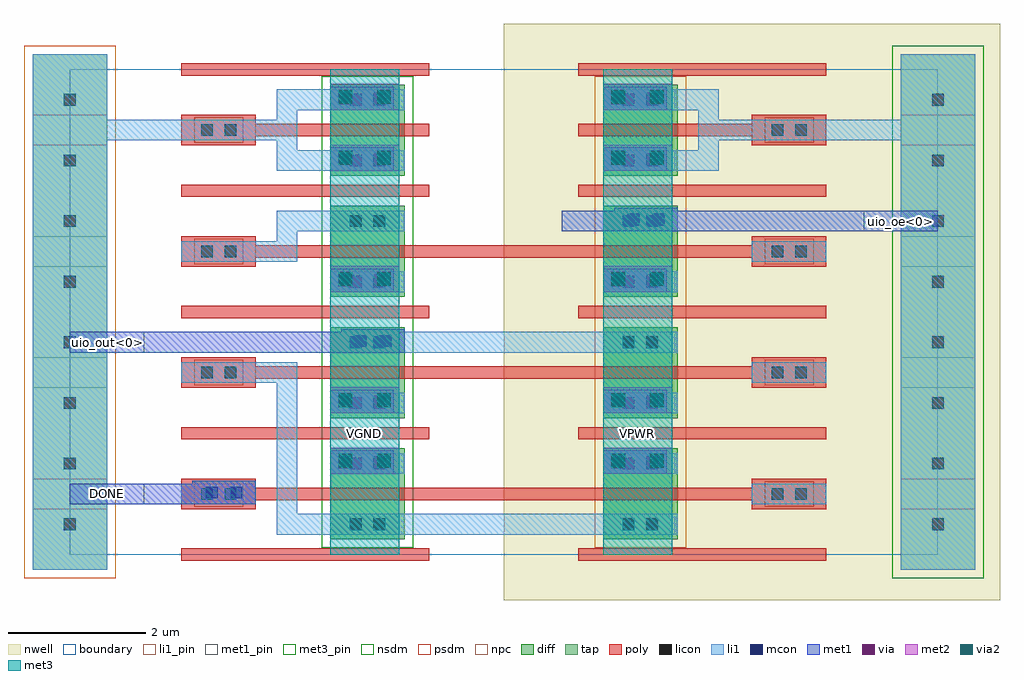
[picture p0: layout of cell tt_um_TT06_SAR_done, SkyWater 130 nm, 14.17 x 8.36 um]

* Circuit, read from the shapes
.subckt tt_um_TT06_SAR_done DONE VGND VPWR uio_oe<0> uio_out<0>
XM1 VGND DONE SUNTR_BFX1_CV_5/SUNTR_NCHDL_6/G VGND sky130_fd_pr__nfet_01v8 w=1.08 l=0.18
XM2 uio_out<0> SUNTR_BFX1_CV_5/SUNTR_NCHDL_6/G VGND VGND sky130_fd_pr__nfet_01v8 w=1.08 l=0.18
XM3 SUNTR_TIEH_CV_4/SUNTR_NCHDL_3/D SUNTR_TIEH_CV_4/SUNTR_NCHDL_3/D VGND VGND sky130_fd_pr__nfet_01v8 w=1.08 l=0.18
XM4 VGND VGND VGND VGND sky130_fd_pr__nfet_01v8 w=1.08 l=0.18
XM5 VPWR DONE SUNTR_BFX1_CV_5/SUNTR_NCHDL_6/G VPWR sky130_fd_pr__pfet_01v8 w=1.08 l=0.18
XM6 uio_out<0> SUNTR_BFX1_CV_5/SUNTR_NCHDL_6/G VPWR VPWR sky130_fd_pr__pfet_01v8 w=1.08 l=0.18
XM7 uio_oe<0> SUNTR_TIEH_CV_4/SUNTR_NCHDL_3/D VPWR VPWR sky130_fd_pr__pfet_01v8 w=1.08 l=0.18
XM8 VPWR VPWR VPWR VPWR sky130_fd_pr__pfet_01v8 w=1.08 l=0.18
.ends

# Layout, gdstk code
import gdstk
lib = gdstk.Library(unit=1e-6, precision=1e-09)
def R(c, l, rs):  # rectangles x0, y0, x1, y1
    for r in rs: c.add(gdstk.rectangle(r[:2], r[2:], *l))
def A(c, l, x, y, w, h, nx, ny, dx, dy):  # array of equal rectangles
    R(c, l, [(x+i*dx, y+j*dy, x+i*dx+w, y+j*dy+h) for i in range(nx) for j in range(ny)])
nwell = (64, 20)
diff = (65, 20)
tap = (65, 44)
poly = (66, 20)
licon = (66, 44)
li1_pin = (67, 16)
li1 = (67, 20)
mcon = (67, 44)
met1_pin = (68, 16)
met1 = (68, 20)
via = (68, 44)
met2 = (69, 20)
via2 = (69, 44)
met3_pin = (70, 16)
met3 = (70, 20)
nsdm = (93, 44)
psdm = (94, 20)
npc = (95, 20)
boundary = (235, 4)

cut_m1m2_2x1 = lib.new_cell('cut_M1M2_2x1')
R(cut_m1m2_2x1, li1, [(0,0,0.92,0.34)])
R(cut_m1m2_2x1, mcon, [(0.195,0.085,0.365,0.255), (0.555,0.085,0.725,0.255)])
R(cut_m1m2_2x1, met1, [(0,0,0.92,0.34)])
R(cut_m1m2_2x1, boundary, [(0,0,0.92,0.34)])

suntr_cut_m1m4_2x1 = lib.new_cell('SUNTR_cut_M1M4_2x1')
R(suntr_cut_m1m4_2x1, li1, [(0,0,0.92,0.34)])
R(suntr_cut_m1m4_2x1, mcon, [(0.115,0.085,0.285,0.255), (0.635,0.085,0.805,0.255)])
R(suntr_cut_m1m4_2x1, met1, [(0,0,0.92,0.34)])
R(suntr_cut_m1m4_2x1, via, [(0.125,0.095,0.275,0.245), (0.645,0.095,0.795,0.245)])
R(suntr_cut_m1m4_2x1, met2, [(0,0,1,0.38)])
R(suntr_cut_m1m4_2x1, via2, [(0.12,0.09,0.32,0.29), (0.68,0.09,0.88,0.29)])
R(suntr_cut_m1m4_2x1, met3, [(0,0,1,0.38)])
R(suntr_cut_m1m4_2x1, boundary, [(0,0,1,0.38)])

suntr_pchdl = lib.new_cell('SUNTR_PCHDL')
R(suntr_pchdl, nwell, [(0,-0.66,7.2,2.42)])
R(suntr_pchdl, diff, [(1.44,0.22,2.52,1.54)])
R(suntr_pchdl, tap, [(5.76,-0.22,6.84,1.98)])
A(suntr_pchdl, poly, 1.08, -0.09, 3.6, 0.18, 1, 3, 0, 0.88)
R(suntr_pchdl, poly, [(3.6,0.66,4.68,0.79), (3.6,0.97,4.68,1.1)])
R(suntr_pchdl, licon, [(1.725,0.355,1.895,0.525), (2.065,0.355,2.235,0.525), (6.215,0.355,6.385,0.525), (3.885,0.795,4.055,0.965), (4.225,0.795,4.395,0.965), (1.725,1.235,1.895,1.405), (2.065,1.235,2.235,1.405), (6.215,1.235,6.385,1.405)])
R(suntr_pchdl, li1_pin, [(1.44,0.29,2.52,0.59), (5.76,0.66,6.84,1.1), (3.6,0.73,4.68,1.03), (1.44,1.17,2.52,1.47)])
R(suntr_pchdl, li1, [(5.76,-0.22,6.84,1.98), (1.44,0.29,2.52,0.59), (3.6,0.73,4.68,1.03), (1.44,1.17,2.52,1.47)])
R(suntr_pchdl, nsdm, [(5.635,-0.345,6.965,2.105)])
R(suntr_pchdl, psdm, [(1.315,0.095,2.645,1.665)])
R(suntr_pchdl, npc, [(3.785,0.695,4.495,1.065)])
R(suntr_pchdl, boundary, [(0,0,6.3,1.76)])
suntr_pchdl.add(gdstk.Label('D', (1.98,1.32), layer=67, texttype=5))
suntr_pchdl.add(gdstk.Label('G', (4.14,0.88), layer=67, texttype=5))
suntr_pchdl.add(gdstk.Label('S', (1.98,0.44), layer=67, texttype=5))
suntr_pchdl.add(gdstk.Label('B', (6.3,0.88), layer=67, texttype=5))

suntr_nchdl = lib.new_cell('SUNTR_NCHDL')
R(suntr_nchdl, diff, [(3.78,0.22,4.86,1.54)])
R(suntr_nchdl, tap, [(-0.54,-0.22,0.54,1.98)])
A(suntr_nchdl, poly, 1.62, -0.09, 3.6, 0.18, 1, 3, 0, 0.88)
R(suntr_nchdl, poly, [(1.62,0.66,2.7,0.79), (1.62,0.97,2.7,1.1)])
R(suntr_nchdl, licon, [(-0.085,0.355,0.085,0.525), (4.065,0.355,4.235,0.525), (4.405,0.355,4.575,0.525), (1.905,0.795,2.075,0.965), (2.245,0.795,2.415,0.965), (-0.085,1.235,0.085,1.405), (4.065,1.235,4.235,1.405), (4.405,1.235,4.575,1.405)])
R(suntr_nchdl, li1_pin, [(3.78,0.29,4.86,0.59), (-0.54,0.66,0.54,1.1), (1.62,0.73,2.7,1.03), (3.78,1.17,4.86,1.47)])
R(suntr_nchdl, li1, [(-0.54,-0.22,0.54,1.98), (3.78,0.29,4.86,0.59), (1.62,0.73,2.7,1.03), (3.78,1.17,4.86,1.47)])
R(suntr_nchdl, nsdm, [(3.655,0.095,4.985,1.665)])
R(suntr_nchdl, psdm, [(-0.665,-0.345,0.665,2.105)])
R(suntr_nchdl, npc, [(1.805,0.695,2.515,1.065)])
R(suntr_nchdl, boundary, [(0,0,6.3,1.76)])
suntr_nchdl.add(gdstk.Label('D', (4.32,1.32), layer=67, texttype=5))
suntr_nchdl.add(gdstk.Label('G', (2.16,0.88), layer=67, texttype=5))
suntr_nchdl.add(gdstk.Label('S', (4.32,0.44), layer=67, texttype=5))
suntr_nchdl.add(gdstk.Label('B', (0,0.88), layer=67, texttype=5))

suntr_tapcellb_cv = lib.new_cell('SUNTR_TAPCELLB_CV')
R(suntr_tapcellb_cv, li1, [(3,0.29,4.32,0.59), (8.28,0.29,9.42,0.59), (3,0.59,3.3,0.73), (9.12,0.59,9.42,0.73), (-0.54,0.73,3.3,1.03), (9.12,0.73,13.14,1.03), (3,1.03,3.3,1.17), (9.12,1.03,9.42,1.17), (3,1.17,4.32,1.47), (8.28,1.17,9.42,1.47)])
R(suntr_tapcellb_cv, met3_pin, [(3.78,0,4.78,1.76), (7.74,0,8.74,1.76)])
R(suntr_tapcellb_cv, met3, [(3.78,0,4.78,1.76), (7.74,0,8.74,1.76)])
R(suntr_tapcellb_cv, boundary, [(0,0,12.6,1.76)])
suntr_tapcellb_cv.add(gdstk.Reference(suntr_cut_m1m4_2x1, (3.78,0.29)))
suntr_tapcellb_cv.add(gdstk.Reference(suntr_cut_m1m4_2x1, (3.78,1.17)))
suntr_tapcellb_cv.add(gdstk.Reference(suntr_cut_m1m4_2x1, (7.74,0.29)))
suntr_tapcellb_cv.add(gdstk.Reference(suntr_cut_m1m4_2x1, (7.74,1.17)))
suntr_tapcellb_cv.add(gdstk.Reference(suntr_pchdl, (6.3,0)))
suntr_tapcellb_cv.add(gdstk.Reference(suntr_nchdl, (0,0)))
suntr_tapcellb_cv.add(gdstk.Label('AVDD', (8.24,0.88), layer=70, texttype=5))
suntr_tapcellb_cv.add(gdstk.Label('AVSS', (4.28,0.88), layer=70, texttype=5))

suntr_tieh_cv = lib.new_cell('SUNTR_TIEH_CV')
R(suntr_tieh_cv, poly, [(1.62,0.79,10.98,0.97)])
R(suntr_tieh_cv, li1_pin, [(7.74,1.17,8.82,1.47)])
R(suntr_tieh_cv, li1, [(2.16,0.73,3.3,1.03), (3,1.03,3.3,1.17), (3,1.17,4.32,1.47), (7.74,1.17,8.82,1.47)])
R(suntr_tieh_cv, met3_pin, [(3.78,0,4.78,1.76), (7.74,0,8.74,1.76)])
R(suntr_tieh_cv, met3, [(3.78,0,4.78,1.76), (7.74,0,8.74,1.76)])
R(suntr_tieh_cv, boundary, [(0,0,12.6,1.76)])
suntr_tieh_cv.add(gdstk.Reference(suntr_cut_m1m4_2x1, (3.78,0.29)))
suntr_tieh_cv.add(gdstk.Reference(suntr_cut_m1m4_2x1, (7.74,0.29)))
suntr_tieh_cv.add(gdstk.Reference(suntr_pchdl, (6.3,0)))
suntr_tieh_cv.add(gdstk.Reference(suntr_nchdl, (0,0)))
suntr_tieh_cv.add(gdstk.Label('Y', (8.28,1.32), layer=67, texttype=5))
suntr_tieh_cv.add(gdstk.Label('AVDD', (8.24,0.88), layer=70, texttype=5))
suntr_tieh_cv.add(gdstk.Label('AVSS', (4.28,0.88), layer=70, texttype=5))

suntr_bfx1_cv = lib.new_cell('SUNTR_BFX1_CV')
R(suntr_bfx1_cv, poly, [(1.62,0.79,10.98,0.97), (1.62,2.55,10.98,2.73)])
R(suntr_bfx1_cv, li1_pin, [(1.62,0.73,2.7,1.03), (3.78,2.93,4.86,3.23)])
R(suntr_bfx1_cv, li1, [(3,0.29,8.28,0.59), (3,0.59,3.3,2.49), (1.62,0.73,2.7,1.03), (2.16,2.49,3.3,2.79), (3.78,2.93,8.28,3.23)])
R(suntr_bfx1_cv, met3_pin, [(3.78,0,4.78,3.52), (7.74,0,8.74,3.52)])
R(suntr_bfx1_cv, met3, [(3.78,0,4.78,3.52), (7.74,0,8.74,3.52)])
R(suntr_bfx1_cv, nsdm, [(3.655,1.665,4.985,1.855)])
R(suntr_bfx1_cv, psdm, [(7.615,1.665,8.945,1.855)])
R(suntr_bfx1_cv, boundary, [(0,0,12.6,3.52)])
suntr_bfx1_cv.add(gdstk.Reference(suntr_cut_m1m4_2x1, (3.78,2.05)))
suntr_bfx1_cv.add(gdstk.Reference(suntr_cut_m1m4_2x1, (3.78,1.17)))
suntr_bfx1_cv.add(gdstk.Reference(suntr_cut_m1m4_2x1, (7.74,2.05)))
suntr_bfx1_cv.add(gdstk.Reference(suntr_cut_m1m4_2x1, (7.74,1.17)))
suntr_bfx1_cv.add(gdstk.Reference(suntr_pchdl, (6.3,1.76)))
suntr_bfx1_cv.add(gdstk.Reference(suntr_pchdl, (6.3,0)))
suntr_bfx1_cv.add(gdstk.Reference(suntr_nchdl, (0,1.76)))
suntr_bfx1_cv.add(gdstk.Reference(suntr_nchdl, (0,0)))
suntr_bfx1_cv.add(gdstk.Label('A', (2.16,0.88), layer=67, texttype=5))
suntr_bfx1_cv.add(gdstk.Label('Y', (4.32,3.08), layer=67, texttype=5))
suntr_bfx1_cv.add(gdstk.Label('AVDD', (8.24,1.76), layer=70, texttype=5))
suntr_bfx1_cv.add(gdstk.Label('AVSS', (4.28,1.76), layer=70, texttype=5))

tt_um_tt06_sar_done = lib.new_cell('tt_um_TT06_SAR_done')
R(tt_um_tt06_sar_done, met1_pin, [(0,0.73,1.08,1.03), (0,2.93,1.08,3.23), (11.52,4.69,12.6,4.99)])
R(tt_um_tt06_sar_done, met1, [(0,0.73,2.16,1.03), (0,2.93,4.32,3.23), (7.14,4.69,12.6,4.99)])
R(tt_um_tt06_sar_done, met3_pin, [(3.78,0,4.78,3.52), (7.74,0,8.74,3.52)])
R(tt_um_tt06_sar_done, met3, [(3.78,0,4.78,3.52), (7.74,0,8.74,3.52)])
R(tt_um_tt06_sar_done, nsdm, [(3.655,3.425,4.985,3.615), (3.655,5.185,4.985,5.375)])
R(tt_um_tt06_sar_done, psdm, [(7.615,3.425,8.945,3.615), (7.615,5.185,8.945,5.375)])
R(tt_um_tt06_sar_done, boundary, [(0,0,12.6,7.04)])
tt_um_tt06_sar_done.add(gdstk.Reference(cut_m1m2_2x1, (7.9,4.69)))
tt_um_tt06_sar_done.add(gdstk.Reference(cut_m1m2_2x1, (3.94,2.93)))
tt_um_tt06_sar_done.add(gdstk.Reference(cut_m1m2_2x1, (1.78,0.73)))
tt_um_tt06_sar_done.add(gdstk.Reference(suntr_tapcellb_cv, (0,5.28)))
tt_um_tt06_sar_done.add(gdstk.Reference(suntr_tieh_cv, (0,3.52)))
tt_um_tt06_sar_done.add(gdstk.Reference(suntr_bfx1_cv, (0,0)))
tt_um_tt06_sar_done.add(gdstk.Label('DONE', (0.54,0.88), layer=68, texttype=5))
tt_um_tt06_sar_done.add(gdstk.Label('uio_out<0>', (0.54,3.08), layer=68, texttype=5))
tt_um_tt06_sar_done.add(gdstk.Label('uio_oe<0>', (12.06,4.84), layer=68, texttype=5))
tt_um_tt06_sar_done.add(gdstk.Label('VPWR', (8.24,1.76), layer=70, texttype=5))
tt_um_tt06_sar_done.add(gdstk.Label('VGND', (4.28,1.76), layer=70, texttype=5))

lib.write_gds('tt_um_TT06_SAR_done.gds')
